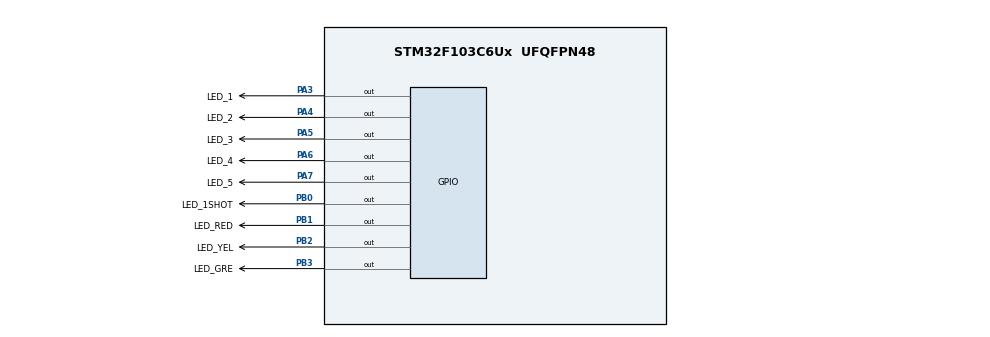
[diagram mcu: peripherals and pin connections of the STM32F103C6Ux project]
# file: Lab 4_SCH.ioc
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Mcu.Family=STM32F1
Mcu.Name=STM32F103C6Ux
Mcu.Package=UFQFPN48
NVIC.PriorityGroup=NVIC_PRIORITYGROUP_4
NVIC.TIM2_IRQn=true\:0\:0\:false\:false\:true\:true\:true
PA3.GPIO_Label=LED_1
PA3.Signal=GPIO_Output
PA4.GPIO_Label=LED_2
PA4.Signal=GPIO_Output
PA5.GPIO_Label=LED_3
PA5.Signal=GPIO_Output
PA6.GPIO_Label=LED_4
PA6.Signal=GPIO_Output
PA7.GPIO_Label=LED_5
PA7.Signal=GPIO_Output
PB0.GPIO_Label=LED_1SHOT
PB0.Signal=GPIO_Output
PB1.GPIO_Label=LED_RED
PB1.Signal=GPIO_Output
PB2.GPIO_Label=LED_YEL
PB2.Signal=GPIO_Output
PB3.GPIO_Label=LED_GRE
PB3.Signal=GPIO_Output
ProjectManager.HeapSize=0x200
ProjectManager.StackSize=0x400
ProjectManager.TargetToolchain=STM32CubeIDE
RCC.APB1Freq_Value=8000000
RCC.APB2Freq_Value=8000000
TIM2.Period=9
TIM2.Prescaler=7999
VP_SYS_VS_ND.Mode=No_Debug
VP_TIM2_VS_ClockSourceINT.Mode=Internal
board=custom

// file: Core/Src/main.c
/* USER CODE BEGIN Header */
/**
  ******************************************************************************
  * @file           : main.c
  * @brief          : Main program body
  ******************************************************************************
  * @attention
  *
  * <h2><center>&copy; Copyright (c) 2023 STMicroelectronics.
  * All rights reserved.</center></h2>
  *
  * This software component is licensed by ST under BSD 3-Clause license,
  * the "License"; You may not use this file except in compliance with the
  * License. You may obtain a copy of the License at:
  *                        opensource.org/licenses/BSD-3-Clause
  *
  ******************************************************************************
  */
/* USER CODE END Header */
#include "main.h"

/* USER CODE BEGIN Includes */
#include "scheduler.h"
/* USER CODE END Includes */

TIM_HandleTypeDef htim2;

void SystemClock_Config(void);
static void MX_TIM2_Init(void);
static void MX_GPIO_Init(void);

/* USER CODE BEGIN 0 */
void task_1(){
	HAL_GPIO_TogglePin(LED_1_GPIO_Port, LED_1_Pin);
}
void task_2(){
	HAL_GPIO_TogglePin(LED_2_GPIO_Port, LED_2_Pin);
}
void task_3(){
	HAL_GPIO_TogglePin(LED_3_GPIO_Port, LED_3_Pin);
}
void task_4(){
	HAL_GPIO_TogglePin(LED_4_GPIO_Port, LED_4_Pin);
}
void task_5(){
	HAL_GPIO_TogglePin(LED_5_GPIO_Port, LED_5_Pin);
}
void task_1shot(){
	HAL_GPIO_TogglePin(LED_1SHOT_GPIO_Port, LED_1SHOT_Pin);
}
/* USER CODE END 0 */

int main(void)
{

  /* MCU Configuration--------------------------------------------------------*/

  /* Reset of all peripherals, Initializes the Flash interface and the Systick. */
  HAL_Init();

  /* Configure the system clock */
  SystemClock_Config();

  /* Initialize all configured peripherals */
  MX_TIM2_Init();
  MX_GPIO_Init();
  /* USER CODE BEGIN 2 */
  HAL_TIM_Base_Start_IT(&htim2);
  SCH_INIT();
  /* USER CODE END 2 */

  /* Infinite loop */
  /* USER CODE BEGIN WHILE */
  SCH_Add_Task(task_1, 1000, 500); // Cycle = 500ms
  SCH_Add_Task(task_2, 1000, 1000); // Cycle = 1s
  SCH_Add_Task(task_3, 1000, 1500); // Cycle = 1.5s
  SCH_Add_Task(task_4, 1000, 2000); // Cycle = 2s
  SCH_Add_Task(task_5, 1000, 2500); // Cycle = 2.5s

  SCH_Add_Task(task_1shot, 2000, 0); // one shot task
  while (1)
  {
	  SCH_Dispatch_Task();
    /* USER CODE END WHILE */

  }
}

void SystemClock_Config(void)
{
  RCC_OscInitTypeDef RCC_OscInitStruct = {0};
  RCC_ClkInitTypeDef RCC_ClkInitStruct = {0};

  /** Initializes the RCC Oscillators according to the specified parameters
  * in the RCC_OscInitTypeDef structure.
  */
  RCC_OscInitStruct.OscillatorType = RCC_OSCILLATORTYPE_HSI;
  RCC_OscInitStruct.HSIState = RCC_HSI_ON;
  RCC_OscInitStruct.HSICalibrationValue = RCC_HSICALIBRATION_DEFAULT;
  RCC_OscInitStruct.PLL.PLLState = RCC_PLL_NONE;
  if (HAL_RCC_OscConfig(&RCC_OscInitStruct) != HAL_OK)
  {
    Error_Handler();
  }
  /** Initializes the CPU, AHB and APB buses clocks
  */
  RCC_ClkInitStruct.ClockType = RCC_CLOCKTYPE_HCLK|RCC_CLOCKTYPE_SYSCLK
                              |RCC_CLOCKTYPE_PCLK1|RCC_CLOCKTYPE_PCLK2;
  RCC_ClkInitStruct.SYSCLKSource = RCC_SYSCLKSOURCE_HSI;
  RCC_ClkInitStruct.AHBCLKDivider = RCC_SYSCLK_DIV1;
  RCC_ClkInitStruct.APB1CLKDivider = RCC_HCLK_DIV1;
  RCC_ClkInitStruct.APB2CLKDivider = RCC_HCLK_DIV1;

  if (HAL_RCC_ClockConfig(&RCC_ClkInitStruct, FLASH_LATENCY_0) != HAL_OK)
  {
    Error_Handler();
  }
}

static void MX_TIM2_Init(void)
{

  TIM_ClockConfigTypeDef sClockSourceConfig = {0};
  TIM_MasterConfigTypeDef sMasterConfig = {0};

  htim2.Instance = TIM2;
  htim2.Init.Prescaler = 7999;
  htim2.Init.CounterMode = TIM_COUNTERMODE_UP;
  htim2.Init.Period = 9;
  htim2.Init.ClockDivision = TIM_CLOCKDIVISION_DIV1;
  htim2.Init.AutoReloadPreload = TIM_AUTORELOAD_PRELOAD_DISABLE;
  if (HAL_TIM_Base_Init(&htim2) != HAL_OK)
  {
    Error_Handler();
  }
  sClockSourceConfig.ClockSource = TIM_CLOCKSOURCE_INTERNAL;
  if (HAL_TIM_ConfigClockSource(&htim2, &sClockSourceConfig) != HAL_OK)
  {
    Error_Handler();
  }
  sMasterConfig.MasterOutputTrigger = TIM_TRGO_RESET;
  sMasterConfig.MasterSlaveMode = TIM_MASTERSLAVEMODE_DISABLE;
  if (HAL_TIMEx_MasterConfigSynchronization(&htim2, &sMasterConfig) != HAL_OK)
  {
    Error_Handler();
  }

}

static void MX_GPIO_Init(void)
{
  GPIO_InitTypeDef GPIO_InitStruct = {0};

  /* GPIO Ports Clock Enable */
  __HAL_RCC_GPIOA_CLK_ENABLE();
  __HAL_RCC_GPIOB_CLK_ENABLE();

  /*Configure GPIO pin Output Level */
  HAL_GPIO_WritePin(GPIOA, LED_1_Pin|LED_2_Pin|LED_3_Pin|LED_4_Pin
                          |LED_5_Pin, GPIO_PIN_RESET);

  /*Configure GPIO pin Output Level */
  HAL_GPIO_WritePin(GPIOB, LED_1SHOT_Pin|LED_RED_Pin|LED_YEL_Pin|LED_GRE_Pin, GPIO_PIN_RESET);

  /*Configure GPIO pins : LED_1_Pin LED_2_Pin LED_3_Pin LED_4_Pin
                           LED_5_Pin */
  GPIO_InitStruct.Pin = LED_1_Pin|LED_2_Pin|LED_3_Pin|LED_4_Pin
                          |LED_5_Pin;
  GPIO_InitStruct.Mode = GPIO_MODE_OUTPUT_PP;
  GPIO_InitStruct.Pull = GPIO_NOPULL;
  GPIO_InitStruct.Speed = GPIO_SPEED_FREQ_LOW;
  HAL_GPIO_Init(GPIOA, &GPIO_InitStruct);

  /*Configure GPIO pins : LED_1SHOT_Pin LED_RED_Pin LED_YEL_Pin LED_GRE_Pin */
  GPIO_InitStruct.Pin = LED_1SHOT_Pin|LED_RED_Pin|LED_YEL_Pin|LED_GRE_Pin;
  GPIO_InitStruct.Mode = GPIO_MODE_OUTPUT_PP;
  GPIO_InitStruct.Pull = GPIO_NOPULL;
  GPIO_InitStruct.Speed = GPIO_SPEED_FREQ_LOW;
  HAL_GPIO_Init(GPIOB, &GPIO_InitStruct);

}

/* USER CODE BEGIN 4 */

void HAL_TIM_PeriodElapsedCallback(TIM_HandleTypeDef *htim){
	SCH_Update();
}
/* USER CODE END 4 */

void Error_Handler(void)
{
  __disable_irq();
  while (1)
  {
  }
}

/************************ (C) COPYRIGHT STMicroelectronics *****END OF FILE****/
